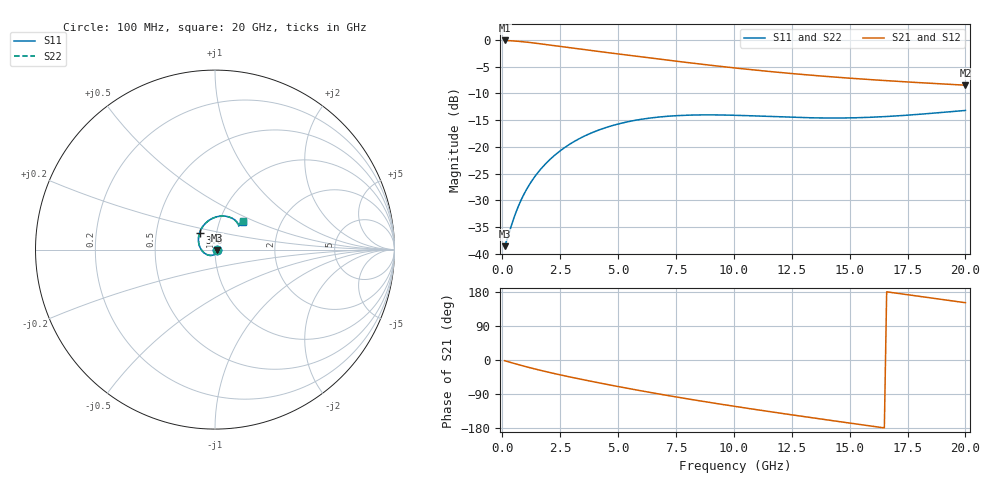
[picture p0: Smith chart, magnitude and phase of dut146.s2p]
! Touchstone file exported from HFSS 2024.1.0
!  File:  C:/UserFiles/LocalFiles/RDL_TSV_Batchsim/temp_RDL_TSV_146_1779431009.aedt
!  Generated:  02:33:28 PM May 22, 2026
!  Design:  RDL_TSV
!  Project:  temp_RDL_TSV_146_1779431009
!  Setup:  Setup1
!  Solution:  Sweep
! Variables:
!  dtsv = 13.64um
!  hbump = 3um
!  htsv = 59.28um
!  ldown = 215.21um
!  lrdl = 657.27um
!  p = 40
!  p1 = 43.07um
!  rhole = 10um
!  subl = 3274.71um
!  t = 450um
!  tdown = 2.81um
!  trdl = 4.8um
!  viad = 10um
!  wdown = 22.38um
!  wrdl = 28.21um
!  xbump = 18um
# GHz S MA R 50.000000
! Terminal data exported
! Port[1] = TM1_1_T1
! Port[2] = TM1_4_T1
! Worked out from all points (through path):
!   200 points, 100 MHz to 20 GHz, reference 50 ohm
!   highest |S21| = -0.10 dB at 100 MHz (marker M1); lowest = -8.5 dB at 20 GHz (marker M2)
!   group delay of S21, straight-line fit = 27.6 ps
!   lowest |S11| = -38.6 dB at 100 MHz (marker M3), VSWR 1.02, Z = 51.1 - j0.357 ohm
!   |S11| at or under -10 dB: start of sweep to end of sweep
!   |S22| runs from -38.6 to -13.2 dB; largest |S21 - S12| = 1.1e-14
!   S11 on the Smith chart (normalised r, x): 100 MHz: 1.02, -0.01; 3.6 GHz: 0.83, +0.16; 20 GHz: 1.29, +0.42
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0.1  0.0118 -17.2  0.988 -1.9  0.988 -1.9  0.0118 -17.2
! Gamma 0 0 0 0
! Port Impedance 50 0 50 0
0.5  0.02161 -77.2  0.9773 -8.9  0.9773 -8.9  0.02161 -77.3
0.7  0.02806 -97.9  0.9698 -12.3  0.9698 -12.3  0.02805 -98.0
1  0.03833 -122.3  0.9558 -17.3  0.9558 -17.3  0.03831 -122.3
1.4  0.05254 -147.7  0.9335 -23.6  0.9335 -23.6  0.0525 -147.6
1.8  0.06695 -168.1  0.9095 -29.5  0.9095 -29.5  0.06688 -168.0
2.3  0.08483 171.1  0.8793 -36.5  0.8793 -36.5  0.0847 171.3
2.9  0.1055 151.0  0.8448 -44.5  0.8448 -44.5  0.1053 151.1
3.5  0.1247 134.6  0.8126 -52.1  0.8126 -52.1  0.1244 134.7
3.6  0.1277 132.2  0.8074 -53.3  0.8074 -53.3  0.1274 132.3
4.3  0.1472 116.8  0.7724 -61.8  0.7724 -61.8  0.1467 116.9
5.1  0.1655 102.3  0.7345 -71.2  0.7345 -71.2  0.165 102.4
5.9  0.1796 90.3  0.6986 -80.3  0.6986 -80.3  0.179 90.4
6.8  0.1904 79.1  0.6606 -90.1  0.6606 -90.1  0.1897 79.2
8.4  0.1987 63.9  0.5995 -106.5  0.5995 -106.5  0.198 64.1
10.1  0.1972 53.3  0.5449 -122.9  0.5449 -122.9  0.1965 53.5
11.7  0.1917 47.5  0.5027 -137.6  0.5027 -137.6  0.1911 47.7
13.4  0.1868 44.9  0.4664 -152.6  0.4664 -152.6  0.1863 45.2
15  0.1866 44.9  0.4387 -166.4  0.4387 -166.4  0.1863 45.2
16.7  0.1928 45.7  0.4143 179.1  0.4143 179.1  0.1926 46.0
18.3  0.2039 46.0  0.395 165.5  0.395 165.5  0.204 46.3
20  0.219 45.3  0.3774 151.2  0.3774 151.2  0.2193 45.6
